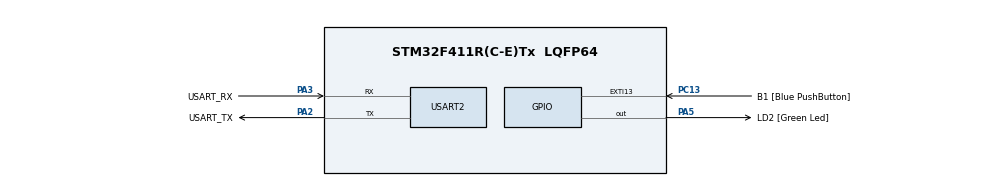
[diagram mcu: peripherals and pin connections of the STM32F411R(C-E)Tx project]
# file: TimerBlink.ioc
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Mcu.Family=STM32F4
Mcu.Name=STM32F411R(C-E)Tx
Mcu.Package=LQFP64
NVIC.PriorityGroup=NVIC_PRIORITYGROUP_0
NVIC.TIM2_IRQn=true\:0\:0\:false\:false\:true\:true\:true\:true
PA13.GPIO_Label=TMS
PA13.Mode=Serial_Wire
PA13.Signal=SYS_JTMS-SWDIO
PA14.GPIO_Label=TCK
PA14.Mode=Serial_Wire
PA14.Signal=SYS_JTCK-SWCLK
PA2.GPIO_Label=USART_TX
PA2.Mode=Asynchronous
PA2.Signal=USART2_TX
PA3.GPIO_Label=USART_RX
PA3.Mode=Asynchronous
PA3.Signal=USART2_RX
PA5.GPIO_Label=LD2 [Green Led]
PA5.Signal=GPIO_Output
PB3.GPIO_Label=SWO
PB3.Signal=SYS_JTDO-SWO
PC13-ANTI_TAMP.GPIO_Label=B1 [Blue PushButton]
PC13-ANTI_TAMP.GPIO_ModeDefaultEXTI=GPIO_MODE_IT_FALLING
PC13-ANTI_TAMP.Signal=GPXTI13
PC14-OSC32_IN.Mode=LSE-External-Oscillator
PC14-OSC32_IN.Signal=RCC_OSC32_IN
PC15-OSC32_OUT.Mode=LSE-External-Oscillator
PC15-OSC32_OUT.Signal=RCC_OSC32_OUT
PH0\ -\ OSC_IN.Mode=HSE-External-Clock-Source
PH0\ -\ OSC_IN.Signal=RCC_OSC_IN
PH1\ -\ OSC_OUT.Mode=HSE-External-Clock-Source
PH1\ -\ OSC_OUT.Signal=RCC_OSC_OUT
ProjectManager.HeapSize=0x200
ProjectManager.StackSize=0x400
ProjectManager.TargetToolchain=STM32CubeIDE
RCC.48MHZClocksFreq_Value=84000000
RCC.AHBFreq_Value=84000000
RCC.APB1CLKDivider=RCC_HCLK_DIV2
RCC.APB1Freq_Value=42000000
RCC.APB1TimFreq_Value=84000000
RCC.APB2Freq_Value=84000000
RCC.APB2TimFreq_Value=84000000
RCC.CortexFreq_Value=84000000
RCC.FLatency-AdvancedSettings=FLASH_LATENCY_2
RCC.HCLKFreq_Value=84000000
RCC.HSE_VALUE=8000000
RCC.HSI_VALUE=16000000
RCC.PLLN=336
RCC.PLLP=RCC_PLLP_DIV4
RCC.SYSCLKFreq_VALUE=84000000
RCC.SYSCLKSource=RCC_SYSCLKSOURCE_PLLCLK
RCC.VCOOutputFreq_Value=336000000
TIM2.Period=35999
TIM2.Prescaler=199
TIM2.TIM_MasterOutputTrigger=TIM_TRGO_UPDATE
USART2.VirtualMode=VM_ASYNC
VP_TIM2_VS_ClockSourceINT.Mode=Internal
board=NUCLEO-F411RE

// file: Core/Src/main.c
/* USER CODE BEGIN Header */
/**
  ******************************************************************************
  * @file           : main.c
  * @brief          : Main program body
  ******************************************************************************
  * @attention
  *
  * Copyright (c) 2026 STMicroelectronics.
  * All rights reserved.
  *
  * This software is licensed under terms that can be found in the LICENSE file
  * in the root directory of this software component.
  * If no LICENSE file comes with this software, it is provided AS-IS.
  *
  ******************************************************************************
  */
/* USER CODE END Header */
#include "main.h"
#include "tim.h"
#include "usart.h"
#include "gpio.h"

/* USER CODE BEGIN PV */
#define LED_ON() LL_GPIO_SetOutputPin(GPIOA, LL_GPIO_PIN_5)
#define LED_OFF() LL_GPIO_ResetOutputPin(GPIOA, LL_GPIO_PIN_5)
uint8_t tim2_count;
/* USER CODE END PV */

void SystemClock_Config(void);

int main(void)
{

  /* USER CODE BEGIN 1 */
	// определяем где выполняется программа, и корректируем расположение таблицы векторов
	uint32_t retPCasm(void); // небольшая функция для определения где выполняется программа в FLASH или RAM
	if ((retPCasm() & 0x20000000) != 0)
	{
	    SCB->VTOR = 0x20000000; /* FlagDebugInRAM=1;*/
	}
  /* USER CODE END 1 */

  /* MCU Configuration--------------------------------------------------------*/

  /* Reset of all peripherals, Initializes the Flash interface and the Systick. */
  LL_APB2_GRP1_EnableClock(LL_APB2_GRP1_PERIPH_SYSCFG);
  LL_APB1_GRP1_EnableClock(LL_APB1_GRP1_PERIPH_PWR);

  /* System interrupt init*/
  NVIC_SetPriorityGrouping(NVIC_PRIORITYGROUP_0);

  /* Configure the system clock */
  SystemClock_Config();

  /* Initialize all configured peripherals */
  MX_GPIO_Init();
  MX_USART2_UART_Init();
  MX_TIM2_Init();
  /* USER CODE BEGIN 2 */
  LL_TIM_EnableIT_UPDATE(TIM2);
  LL_TIM_EnableCounter(TIM2);
  /* USER CODE END 2 */
  tim2_count = 0;
  /* Infinite loop */
  /* USER CODE BEGIN WHILE */
  while (1)
  {
	  if (tim2_count > 0)
	  {
		  LED_ON();
	  }
	  else
	  {
		  LED_OFF();
	  }
    /* USER CODE END WHILE */

  }
}

void SystemClock_Config(void)
{
  LL_FLASH_SetLatency(LL_FLASH_LATENCY_2);
  while(LL_FLASH_GetLatency()!= LL_FLASH_LATENCY_2)
  {
  }
  LL_PWR_SetRegulVoltageScaling(LL_PWR_REGU_VOLTAGE_SCALE1);
  LL_RCC_HSI_SetCalibTrimming(16);
  LL_RCC_HSI_Enable();

   /* Wait till HSI is ready */
  while(LL_RCC_HSI_IsReady() != 1)
  {

  }
  LL_RCC_PLL_ConfigDomain_SYS(LL_RCC_PLLSOURCE_HSI, LL_RCC_PLLM_DIV_16, 336, LL_RCC_PLLP_DIV_4);
  LL_RCC_PLL_Enable();

   /* Wait till PLL is ready */
  while(LL_RCC_PLL_IsReady() != 1)
  {

  }
  while (LL_PWR_IsActiveFlag_VOS() == 0)
  {
  }
  LL_RCC_SetAHBPrescaler(LL_RCC_SYSCLK_DIV_1);
  LL_RCC_SetAPB1Prescaler(LL_RCC_APB1_DIV_2);
  LL_RCC_SetAPB2Prescaler(LL_RCC_APB2_DIV_1);
  LL_RCC_SetSysClkSource(LL_RCC_SYS_CLKSOURCE_PLL);

   /* Wait till System clock is ready */
  while(LL_RCC_GetSysClkSource() != LL_RCC_SYS_CLKSOURCE_STATUS_PLL)
  {

  }
  LL_Init1msTick(84000000);
  LL_SetSystemCoreClock(84000000);
  LL_RCC_SetTIMPrescaler(LL_RCC_TIM_PRESCALER_TWICE);
}

/* USER CODE BEGIN 4 */
void TIM2_Callback(void)
{
	if (LL_TIM_IsActiveFlag_UPDATE(TIM2))
	{
		LL_TIM_ClearFlag_UPDATE(TIM2);
	    tim2_count++;
	    if (tim2_count > 0)
	    {
	    	tim2_count = 0;
	    }
	}
}
/* USER CODE END 4 */

void Error_Handler(void)
{
  __disable_irq();
  while (1)
  {
  }
}
